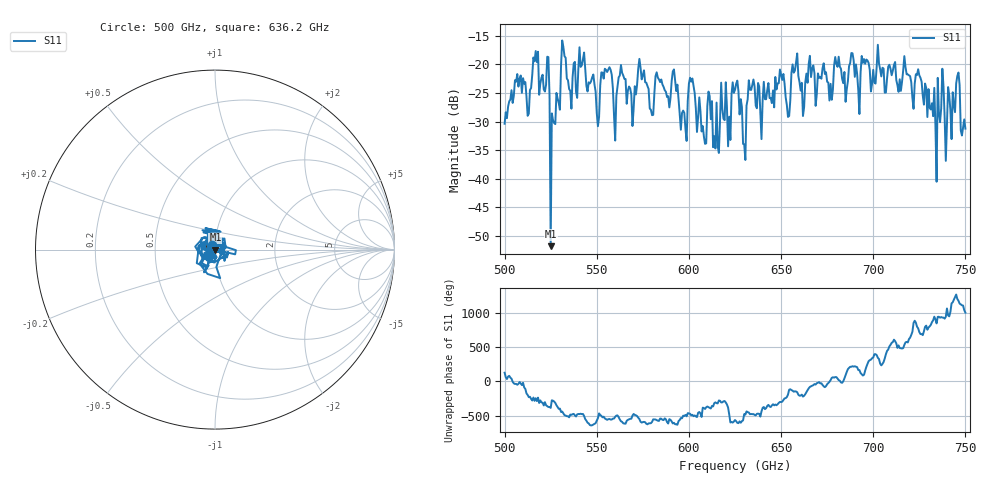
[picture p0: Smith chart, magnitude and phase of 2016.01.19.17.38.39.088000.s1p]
!Created with skrf (http://scikit-rf.org).
# GHz S RI R 50.0
!freq ReS11 ImS11
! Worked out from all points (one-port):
!   401 points, 500 GHz to 750 GHz, reference 50 ohm
!   lowest |S11| = -51.8 dB at 525 GHz (marker M1), VSWR 1.01, Z = 50.2 - j0.114 ohm
!   |S11| at or under -10 dB: start of sweep to end of sweep
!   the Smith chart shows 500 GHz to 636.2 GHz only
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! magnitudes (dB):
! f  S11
! 500 GHz  -30.4
! 507.5 GHz  -23.9
! 513.1 GHz  -28.6
! 516.9 GHz  -17.7
! 523.1 GHz  -18.7
! 525 GHz  -51.8
! 526.2 GHz  -29.8
! 531.2 GHz  -15.8
! 535.6 GHz  -24.7
! 541.9 GHz  -20.2
! 550 GHz  -28.5
! 562.5 GHz  -22.0
! 593.8 GHz  -23.6
! 597.5 GHz  -28.5
! 601.2 GHz  -23.0
! 608.1 GHz  -32.6
! 615 GHz  -26.7
! 625 GHz  -24.5
! 630 GHz  -34.0
! 633.8 GHz  -24.5
! 650.6 GHz  -22.7
! 653.8 GHz  -29.2
! 656.2 GHz  -20.0
! 687.5 GHz  -19.8
! 718.8 GHz  -21.8
! 735 GHz  -22.4
! 745.6 GHz  -22.0
! 750 GHz  -31.2
